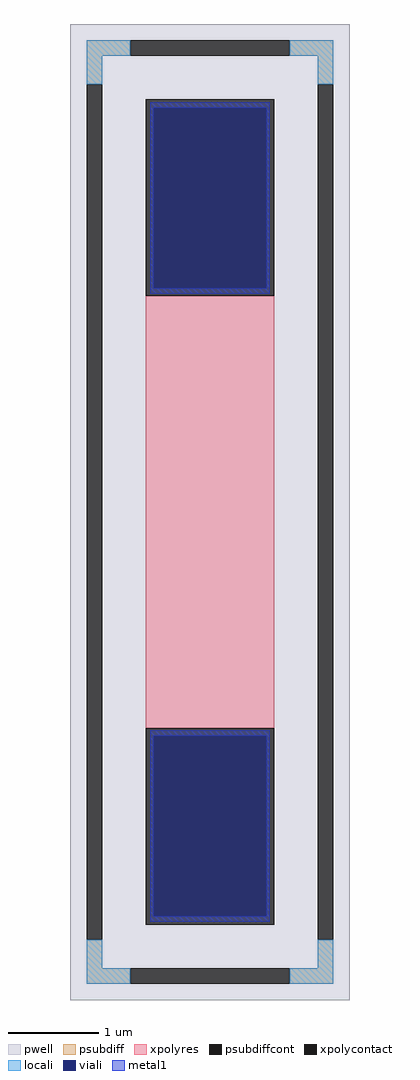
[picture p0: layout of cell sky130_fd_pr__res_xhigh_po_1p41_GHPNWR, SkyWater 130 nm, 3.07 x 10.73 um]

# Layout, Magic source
magic
tech sky130A
magscale 1 2
<< pwell >>
rect -307 -1073 307 1073
<< psubdiff >>
rect -271 1003 -175 1037
rect 175 1003 271 1037
rect -271 941 -237 1003
rect 237 941 271 1003
rect -271 -1003 -237 -941
rect 237 -1003 271 -941
rect -271 -1037 -175 -1003
rect 175 -1037 271 -1003
<< psubdiffcont >>
rect -175 1003 175 1037
rect -271 -941 -237 941
rect 237 -941 271 941
rect -175 -1037 175 -1003
<< xpolycontact >>
rect -141 475 141 907
rect -141 -907 141 -475
<< xpolyres >>
rect -141 -475 141 475
<< locali >>
rect -271 1003 -175 1037
rect 175 1003 271 1037
rect -271 941 -237 1003
rect 237 941 271 1003
rect -271 -1003 -237 -941
rect 237 -1003 271 -941
rect -271 -1037 -175 -1003
rect 175 -1037 271 -1003
<< viali >>
rect -125 492 125 889
rect -125 -889 125 -492
<< metal1 >>
rect -131 889 131 901
rect -131 492 -125 889
rect 125 492 131 889
rect -131 480 131 492
rect -131 -492 131 -480
rect -131 -889 -125 -492
rect 125 -889 131 -492
rect -131 -901 131 -889
<< properties >>
string FIXED_BBOX -254 -1020 254 1020
string gencell sky130_fd_pr__res_xhigh_po_1p41
string library sky130
string parameters w 1.410 l 4.91 m 1 nx 1 wmin 1.410 lmin 0.50 rho 2000 val 7.231k dummy 0 dw 0.0 term 188.2 sterm 0.0 caplen 0 wmax 1.410 guard 1 glc 1 grc 1 gtc 1 gbc 1 compatible {sky130_fd_pr__res_xhigh_po_0p35  sky130_fd_pr__res_xhigh_po_0p69 sky130_fd_pr__res_xhigh_po_1p41  sky130_fd_pr__res_xhigh_po_2p85 sky130_fd_pr__res_xhigh_po_5p73} snake 0 full_metal 1 n_guard 0 hv_guard 0 vias 1 viagb 0 viagt 0 viagl 0 viagr 0
<< end >>
